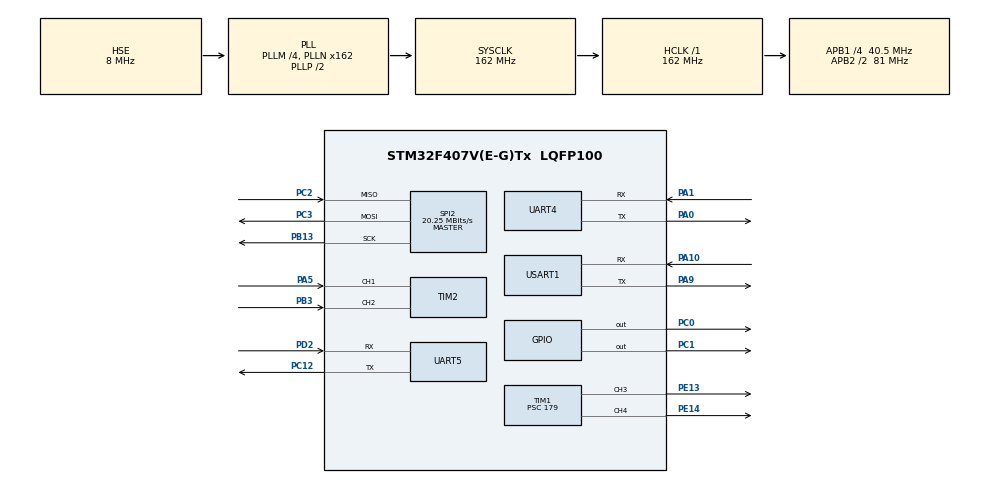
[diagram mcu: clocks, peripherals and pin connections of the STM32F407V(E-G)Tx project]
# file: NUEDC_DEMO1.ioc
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FREERTOS.Tasks01=defaultTask,24,128,StartDefaultTask,Default,NULL,Dynamic,NULL,NULL
FREERTOS.configRECORD_STACK_HIGH_ADDRESS=1
FREERTOS.configUSE_STATS_FORMATTING_FUNCTIONS=1
Mcu.Family=STM32F4
Mcu.Name=STM32F407V(E-G)Tx
Mcu.Package=LQFP100
NVIC.PriorityGroup=NVIC_PRIORITYGROUP_4
NVIC.TIM6_DAC_IRQn=true\:15\:0\:false\:false\:true\:false\:false\:true\:true
NVIC.TimeBase=TIM6_DAC_IRQn
NVIC.TimeBaseIP=TIM6
NVIC.USART1_IRQn=true\:6\:0\:true\:false\:true\:true\:true\:true\:true
PA0-WKUP.Mode=Asynchronous
PA0-WKUP.Signal=UART4_TX
PA1.Mode=Asynchronous
PA1.Signal=UART4_RX
PA10.Mode=Asynchronous
PA10.Signal=USART1_RX
PA13.Mode=Serial_Wire
PA13.Signal=SYS_JTMS-SWDIO
PA14.Mode=Serial_Wire
PA14.Signal=SYS_JTCK-SWCLK
PA5.Signal=S_TIM2_CH1_ETR
PA9.Mode=Asynchronous
PA9.Signal=USART1_TX
PB13.Mode=Full_Duplex_Master
PB13.Signal=SPI2_SCK
PB3.Signal=S_TIM2_CH2
PC0.Signal=GPIO_Output
PC1.Signal=GPIO_Output
PC12.Mode=Asynchronous
PC12.Signal=UART5_TX
PC2.Mode=Full_Duplex_Master
PC2.Signal=SPI2_MISO
PC3.Mode=Full_Duplex_Master
PC3.Signal=SPI2_MOSI
PD2.Mode=Asynchronous
PD2.Signal=UART5_RX
PE13.Signal=S_TIM1_CH3
PE14.Signal=S_TIM1_CH4
PH0-OSC_IN.Mode=HSE-External-Oscillator
PH0-OSC_IN.Signal=RCC_OSC_IN
PH1-OSC_OUT.Mode=HSE-External-Oscillator
PH1-OSC_OUT.Signal=RCC_OSC_OUT
ProjectManager.HeapSize=0x200
ProjectManager.StackSize=0x400
ProjectManager.TargetToolchain=CMake
RCC.48MHZClocksFreq_Value=81000000
RCC.AHBFreq_Value=162000000
RCC.APB1CLKDivider=RCC_HCLK_DIV4
RCC.APB1Freq_Value=40500000
RCC.APB1TimFreq_Value=81000000
RCC.APB2CLKDivider=RCC_HCLK_DIV2
RCC.APB2Freq_Value=81000000
RCC.APB2TimFreq_Value=162000000
RCC.CortexFreq_Value=162000000
RCC.HCLKFreq_Value=162000000
RCC.HSE_VALUE=8000000
RCC.HSI_VALUE=16000000
RCC.LSE_VALUE=32768
RCC.PLLM=4
RCC.PLLN=162
RCC.PLLSourceVirtual=RCC_PLLSOURCE_HSE
RCC.SYSCLKFreq_VALUE=162000000
RCC.SYSCLKSource=RCC_SYSCLKSOURCE_PLLCLK
RCC.VCOOutputFreq_Value=324000000
SH.S_TIM1_CH3.0=TIM1_CH3,PWM Generation3 CH3
SH.S_TIM1_CH4.0=TIM1_CH4,PWM Generation4 CH4
SH.S_TIM2_CH1_ETR.0=TIM2_CH1,Encoder_Interface
SH.S_TIM2_CH2.0=TIM2_CH2,Encoder_Interface
SPI2.BaudRatePrescaler=SPI_BAUDRATEPRESCALER_2
SPI2.CalculateBaudRate=20.25 MBits/s
SPI2.Direction=SPI_DIRECTION_2LINES
SPI2.Mode=SPI_MODE_MASTER
SPI2.VirtualType=VM_MASTER
TIM1.Channel-PWM\ Generation3\ CH3=TIM_CHANNEL_3
TIM1.Channel-PWM\ Generation4\ CH4=TIM_CHANNEL_4
TIM1.Period=17999
TIM1.Prescaler=179
TIM1.Pulse-PWM\ Generation3\ CH3=450
TIM1.Pulse-PWM\ Generation4\ CH4=450
UART4.VirtualMode=Asynchronous
UART5.VirtualMode=Asynchronous
USART1.VirtualMode=VM_ASYNC
VP_FREERTOS_VS_CMSIS_V2.Mode=CMSIS_V2
VP_SYS_VS_tim6.Mode=TIM6
board=custom

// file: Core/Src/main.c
/* USER CODE BEGIN Header */
/**
  ******************************************************************************
  * @file           : main.c
  * @brief          : Main program body
  ******************************************************************************
  * @attention
  *
  * Copyright (c) 2026 STMicroelectronics.
  * All rights reserved.
  *
  * This software is licensed under terms that can be found in the LICENSE file
  * in the root directory of this software component.
  * If no LICENSE file comes with this software, it is provided AS-IS.
  *
  ******************************************************************************
  */
/* USER CODE END Header */
#include "main.h"
#include "cmsis_os.h"
#include "spi.h"
#include "tim.h"
#include "usart.h"
#include "gpio.h"

/* USER CODE BEGIN Includes */
#include "Gimbal.h"
#include "GimbalDebug.h"
/* USER CODE END Includes */

/* USER CODE BEGIN PV */
uint8_t mess[3];
float l;
static const Gimbal_Point2D_t rectangle_50cm[4] =
{
  {-25.0f,  25.0f},   /* 左上角：轨迹起点 */
  { 25.0f,  25.0f},   /* 右上角 */
  { 25.0f, -25.0f},   /* 右下角 */
  {-25.0f, -25.0f}    /* 左下角 */
};
/* USER CODE END PV */

void SystemClock_Config(void);
void MX_FREERTOS_Init(void);

/* USER CODE BEGIN 0 */

void HAL_UART_RxCpltCallback(UART_HandleTypeDef *huart) {
  if (huart->Instance == USART1)
  {
    /* 原样回显收到的三个二进制字节。 */
    HAL_UART_Transmit(huart, mess, 3U, 100U);

    /*
     * mess[0]：'Y' 或 'P'
     * mess[1]：二进制 0x00 或 0x01
     * mess[2]：角度绝对值，单位为度
     */
    (void)Gimbal_SetRelativeByAxis(mess[0],
                                   mess[1],
                                   (float)mess[2]);

    /* 接收处理完成后，重新开启下一帧三字节中断接收。 */
    HAL_UART_Receive_IT(&huart1, mess, 3U);
  }
}
/* USER CODE END 0 */

int main(void)
{

  /* MCU Configuration--------------------------------------------------------*/

  /* Reset of all peripherals, Initializes the Flash interface and the Systick. */
  HAL_Init();

  /* Configure the system clock */
  SystemClock_Config();

  /* Initialize all configured peripherals */
  MX_GPIO_Init();
  MX_SPI2_Init();
  MX_TIM1_Init();
  MX_UART4_Init();
  MX_UART5_Init();
  MX_TIM2_Init();
  MX_USART1_UART_Init();
  /* USER CODE BEGIN 2 */

  if (Gimbal_Init() != GIMBAL_STATUS_OK)
  {
    Error_Handler();
  }

  HAL_UART_Receive_IT(&huart1, mess, 3U);

  while (1) {
    Gimbal_Update();

  }

  /* USER CODE END 2 */

  /* Init scheduler */
  osKernelInitialize();  /* Call init function for freertos objects (in cmsis_os2.c) */
  MX_FREERTOS_Init();

  /* Start scheduler */
  osKernelStart();

  /* We should never get here as control is now taken by the scheduler */

  /* Infinite loop */
  while (1)
  {

    /* USER CODE BEGIN 3 */
    /* GimbalDebug_Update() 内部已经调用 Gimbal_Update()，不要重复调用。 */

  }
  /* USER CODE END 3 */
}

void SystemClock_Config(void)
{
  RCC_OscInitTypeDef RCC_OscInitStruct = {0};
  RCC_ClkInitTypeDef RCC_ClkInitStruct = {0};

  /** Configure the main internal regulator output voltage
  */
  __HAL_RCC_PWR_CLK_ENABLE();
  __HAL_PWR_VOLTAGESCALING_CONFIG(PWR_REGULATOR_VOLTAGE_SCALE1);

  /** Initializes the RCC Oscillators according to the specified parameters
  * in the RCC_OscInitTypeDef structure.
  */
  RCC_OscInitStruct.OscillatorType = RCC_OSCILLATORTYPE_HSE;
  RCC_OscInitStruct.HSEState = RCC_HSE_ON;
  RCC_OscInitStruct.PLL.PLLState = RCC_PLL_ON;
  RCC_OscInitStruct.PLL.PLLSource = RCC_PLLSOURCE_HSE;
  RCC_OscInitStruct.PLL.PLLM = 4;
  RCC_OscInitStruct.PLL.PLLN = 162;
  RCC_OscInitStruct.PLL.PLLP = RCC_PLLP_DIV2;
  RCC_OscInitStruct.PLL.PLLQ = 4;
  if (HAL_RCC_OscConfig(&RCC_OscInitStruct) != HAL_OK)
  {
    Error_Handler();
  }

  /** Initializes the CPU, AHB and APB buses clocks
  */
  RCC_ClkInitStruct.ClockType = RCC_CLOCKTYPE_HCLK|RCC_CLOCKTYPE_SYSCLK
                              |RCC_CLOCKTYPE_PCLK1|RCC_CLOCKTYPE_PCLK2;
  RCC_ClkInitStruct.SYSCLKSource = RCC_SYSCLKSOURCE_PLLCLK;
  RCC_ClkInitStruct.AHBCLKDivider = RCC_SYSCLK_DIV1;
  RCC_ClkInitStruct.APB1CLKDivider = RCC_HCLK_DIV4;
  RCC_ClkInitStruct.APB2CLKDivider = RCC_HCLK_DIV2;

  if (HAL_RCC_ClockConfig(&RCC_ClkInitStruct, FLASH_LATENCY_5) != HAL_OK)
  {
    Error_Handler();
  }
}

/* USER CODE BEGIN 4 */
/* USART1 采用 GimbalDebug_USART1_IRQHandler() 直接处理 RXNE，不再使用 HAL 接收回调。 */
/* USER CODE END 4 */

void HAL_TIM_PeriodElapsedCallback(TIM_HandleTypeDef *htim)
{
  if (htim->Instance == TIM6)
  {
    HAL_IncTick();
  }
}

void Error_Handler(void)
{
  __disable_irq();
  while (1)
  {
  }
}

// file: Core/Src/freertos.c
/* USER CODE BEGIN Header */
/**
  ******************************************************************************
  * File Name          : freertos.c
  * Description        : Code for freertos applications
  ******************************************************************************
  * @attention
  *
  * Copyright (c) 2026 STMicroelectronics.
  * All rights reserved.
  *
  * This software is licensed under terms that can be found in the LICENSE file
  * in the root directory of this software component.
  * If no LICENSE file comes with this software, it is provided AS-IS.
  *
  ******************************************************************************
  */
/* USER CODE END Header */

#include "FreeRTOS.h"
#include "task.h"
#include "main.h"
#include "cmsis_os.h"

/* USER CODE BEGIN Includes */
#include "GimbalDebug.h"
/* USER CODE END Includes */

/* Definitions for defaultTask */
osThreadId_t defaultTaskHandle;
const osThreadAttr_t defaultTask_attributes = {
  .name = "defaultTask",
  .stack_size = 128 * 4,
  .priority = (osPriority_t) osPriorityNormal,
};

void StartDefaultTask(void *argument);

void MX_FREERTOS_Init(void); /* (MISRA C 2004 rule 8.1) */

void MX_FREERTOS_Init(void) {

  /* Create the thread(s) */
  /* creation of defaultTask */
  defaultTaskHandle = osThreadNew(StartDefaultTask, NULL, &defaultTask_attributes);

}

void StartDefaultTask(void *argument)
{
  /* USER CODE BEGIN StartDefaultTask */
  /* Infinite loop */
  for(;;)
  {
    /* 推进云台非阻塞状态机，并处理 USART1 调试命令。 */

  }
  /* USER CODE END StartDefaultTask */
}
